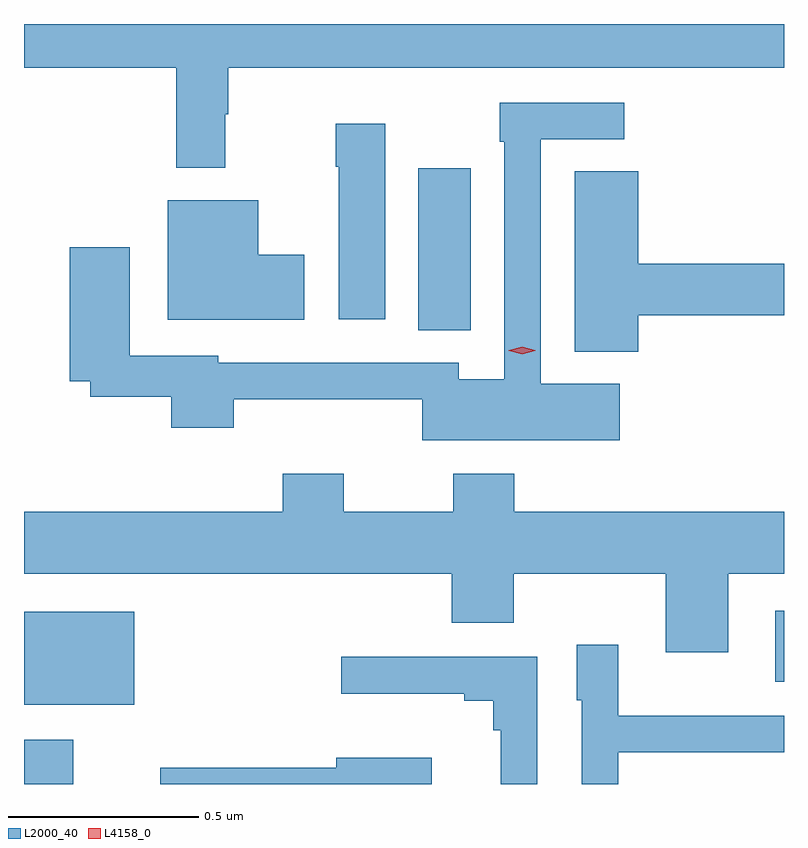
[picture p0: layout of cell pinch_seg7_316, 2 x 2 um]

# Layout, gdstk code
import gdstk
lib = gdstk.Library(unit=1e-6, precision=1e-09)
def R(c, l, rs):  # rectangles x0, y0, x1, y1
    for r in rs: c.add(gdstk.rectangle(r[:2], r[2:], *l))
def P(c, l, *ps):  # polygons
    for p in ps: c.add(gdstk.Polygon(p, *l))
L2000_40 = (2000, 40)
L4158_0 = (4158, 0)

pinch_seg7_316 = lib.new_cell('pinch_seg7_316')
R(pinch_seg7_316, L2000_40, [(554.588,1050.679,554.718,1050.796), (554.588,1050.887,554.878,1051.132), (556.565,1050.948,556.588,1051.135), (555.626,1051.873,555.763,1052.299)])
P(pinch_seg7_316, L2000_40, [(555.118,1052.441),(555.125,1052.441),(555.125,1052.564),(556.588,1052.564),(556.588,1052.679),(554.588,1052.679),(554.588,1052.564),(554.989,1052.564),(554.989,1052.301),(555.118,1052.301)],
  [(556.156,1051.732),(555.948,1051.732),(555.948,1052.376),(556.168,1052.376),(556.168,1052.472),(555.84,1052.472),(555.84,1052.369),(555.852,1052.369),(555.852,1051.744),(555.732,1051.744),(555.732,1051.788),(555.099,1051.788),(555.099,1051.806),(554.866,1051.806),(554.866,1052.092),(554.708,1052.092),(554.708,1051.739),(554.762,1051.739),(554.762,1051.698),(554.975,1051.698),(554.975,1051.616),(555.14,1051.616),(555.14,1051.691),(555.636,1051.691),(555.636,1051.583),(556.156,1051.583)],
  [(555.538,1052.416),(555.409,1052.416),(555.409,1052.303),(555.416,1052.303),(555.416,1051.902),(555.538,1051.902)],
  [(556.204,1051.912),(556.588,1051.912),(556.588,1052.048),(556.204,1052.048),(556.204,1052.291),(556.037,1052.291),(556.037,1051.817),(556.204,1051.817)],
  [(555.325,1052.072),(555.205,1052.072),(555.205,1052.215),(554.966,1052.215),(554.966,1051.901),(555.325,1051.901)],
  [(556.441,1051.232),(556.588,1051.232),(556.588,1051.396),(555.878,1051.396),(555.878,1051.495),(555.718,1051.495),(555.718,1051.396),(555.429,1051.396),(555.429,1051.495),(555.269,1051.495),(555.269,1051.396),(554.588,1051.396),(554.588,1051.232),(555.713,1051.232),(555.713,1051.104),(555.877,1051.104),(555.877,1051.232),(556.277,1051.232),(556.277,1051.026),(556.441,1051.026)],
  [(556.152,1050.762),(556.588,1050.762),(556.588,1050.858),(556.469,1050.858),(556.469,1050.859),(556.152,1050.859),(556.152,1051.045),(556.043,1051.045),(556.043,1050.9),(556.056,1050.9),(556.056,1050.679),(556.152,1050.679)],
  [(555.939,1051.014),(555.423,1051.014),(555.423,1050.917),(555.746,1050.917),(555.746,1050.898),(555.823,1050.898),(555.823,1050.821),(555.842,1050.821),(555.842,1050.679),(555.939,1050.679)],
  [(555.661,1050.748),(555.41,1050.748),(555.41,1050.722),(554.946,1050.722),(554.946,1050.679),(555.661,1050.679)])
P(pinch_seg7_316, L4158_0, [(555.899,1051.81),(555.864,1051.819),(555.864,1051.82),(555.864,1051.82),(555.899,1051.83),(555.934,1051.82),(555.934,1051.82),(555.934,1051.819)])

lib.write_gds('pinch_seg7_316.gds')
